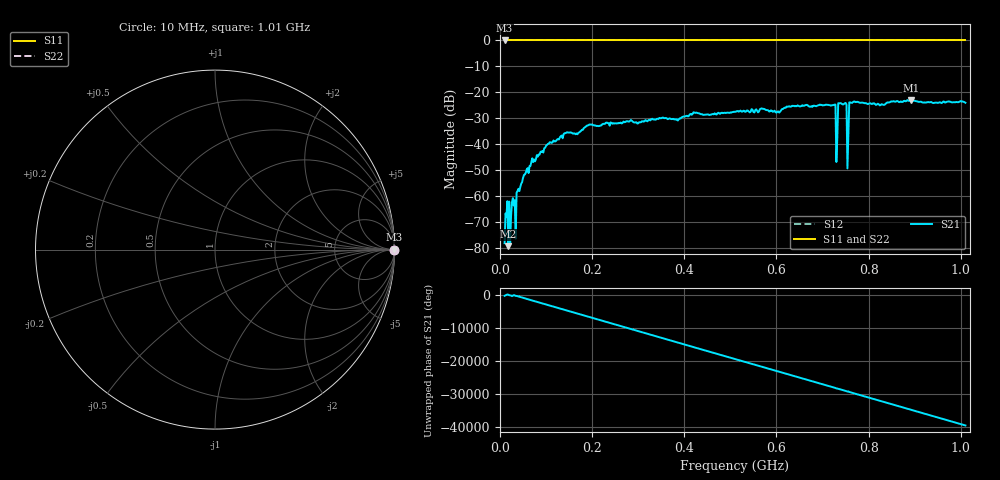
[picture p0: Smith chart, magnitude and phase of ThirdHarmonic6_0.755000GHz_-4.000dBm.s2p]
! 8/16/2025 1:14:13 AM
! C:\ANRITSUVNA\TEMP\TEMP.S2P
! CHANNEL.1
! TR.MEASUREMENT
! RAW.DATA
! RF.CORRECTION.OFF
! AVERAGING.OFF
! IF.BANDWIDTH: 5KHZ
! SWEEPTYPE:  FREQ.SWEEP(Linear)
! Reference Plane Port Info
! PORT:  PORT1  PORT2
! DISTANCE:  0  m  0  m
! TIME:  0  s  0  s
! PHASE.OFFSET:  0  deg.  0  deg.
! LOSS:  0  dB  0  dB
! REF.LOSS:  0  dB  0  dB
! REF.FREQ:  0  Hz  0  Hz
! Power Info
! POWER:  -20  dBm  -20  dBm
! EFF.POWER:  -20  dBm  -20  dBm
! SOURCE.ATTEN:  0  dB  0  dB
! TEST.ATTEN:  0  dB  0  dB
# GHZ S RI R 50.0
! FREQ.GHZ  S11RE  S11IM  S21RE  S21IM  S12RE  S12IM  S22RE  S22IM
!; PortSelection: Port_12
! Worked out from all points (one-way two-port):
!   501 points, 10 MHz to 1.01 GHz, reference 50 ohm
!   highest |S21| = -22.92 dB at 892 MHz (marker M1); lowest = -79.1 dB at 18 MHz (marker M2)
!   lowest |S11| = 0.0 dB at 10 MHz (marker M3)
!   |S11| at or under -10 dB: nowhere
!   |S22| runs from 0.0 to 0.0 dB; largest |S21 - S12| = 1.1
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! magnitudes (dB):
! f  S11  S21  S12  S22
! 10 MHz  0.0  -78.0  0.0  0.0
! 16 MHz  0.0  -61.8  0.0  0.0
! 18 MHz  0.0  -79.1  0.0  0.0
! 38 MHz  0.0  -58.0  0.0  0.0
! 40 MHz  0.0  -57.0  0.0  0.0
! 70 MHz  0.0  -45.3  0.0  0.0
! 106 MHz  0.0  -39.6  0.0  0.0
! 178 MHz  0.0  -34.3  0.0  0.0
! 344 MHz  0.0  -30.2  0.0  0.0
! 510 MHz  0.0  -27.5  0.0  0.0
! 678 MHz  0.0  -25.5  0.0  0.0
! 724 MHz  0.0  -24.8  0.0  0.0
! 728 MHz  0.0  -24.7  0.0  0.0
! 734 MHz  0.0  -24.1  0.0  0.0
! 738 MHz  0.0  -24.1  0.0  0.0
! 748 MHz  0.0  -24.2  0.0  0.0
! 752 MHz  0.0  -24.6  0.0  0.0
! 758 MHz  0.0  -23.8  0.0  0.0
! 762 MHz  0.0  -23.9  0.0  0.0
! 844 MHz  0.0  -23.9  0.0  0.0
! 892 MHz  0.0  -22.9  0.0  0.0
! 1.01 GHz  0.0  -24.0  0.0  0.0
